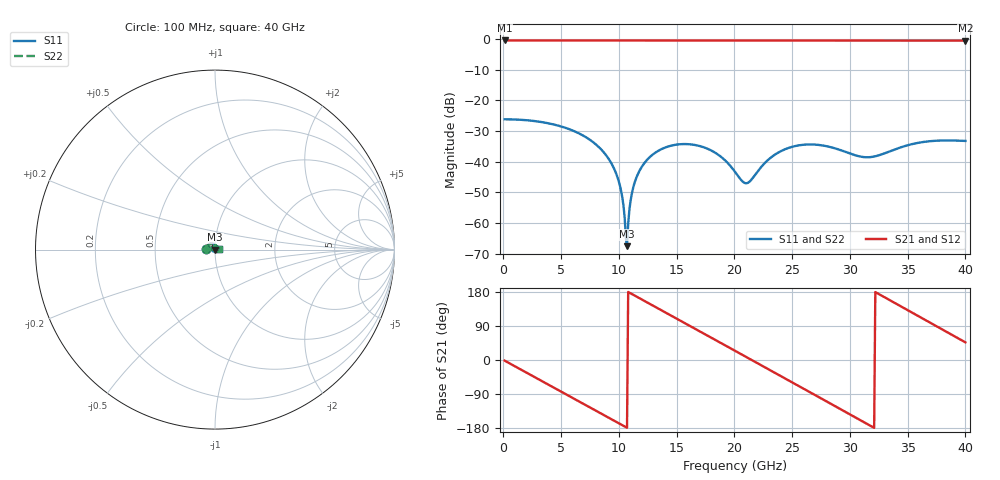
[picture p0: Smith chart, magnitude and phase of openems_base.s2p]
! thru_s8x4_L1: 2×thru, L1, 8 mm
! stackup: 8-layer 1.6 mm FR-4 without the L4 plane
! ports: 1, 2
! openEMS 0.37.0, staircase, base mesh (dfine 0.035 mm), 413725 cells
# Hz S RI R 50
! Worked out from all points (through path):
!   400 points, 100 MHz to 40 GHz, reference 50 ohm
!   highest |S21| = -0.44 dB at 100 MHz (marker M1); lowest = -0.5 dB at 40 GHz (marker M2)
!   group delay of S21, straight-line fit = 46.7 ps
!   lowest |S11| = -67.5 dB at 10.7 GHz (marker M3), VSWR 1.00, Z = 50 - j0.042 ohm
!   |S11| at or under -10 dB: start of sweep to end of sweep
!   |S22| runs from -67.5 to -26.1 dB; largest |S21 - S12| = 0
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1e8  -0.0493 0.00107  0.9501 -0.0277  0.9501 -0.0277  -0.0493 0.00107
1.8e9  -0.0442 0.0185  0.8225 -0.4763  0.8225 -0.4763  -0.0442 0.0185
3.8e9  -0.028 0.0323  0.4242 -0.8504  0.4242 -0.8504  -0.028 0.0323
6.8e9  0.000796 0.0274  -0.3806 -0.8704  -0.3806 -0.8704  0.000796 0.0274
8.6e9  0.00739 0.0129  -0.7655 -0.562  -0.7655 -0.562  0.00739 0.0129
9.7e9  0.00516 0.00452  -0.9035 -0.2917  -0.9035 -0.2917  0.00516 0.00452
1.03e10  0.0023 0.00115  -0.9405 -0.1298  -0.9405 -0.1298  0.0023 0.00115
1.07e10  -3.31e-05 -0.00042  -0.9491 -0.0193  -0.9491 -0.0193  -3.31e-05 -0.00042
1.09e10  -0.00129 -0.000978  -0.9486 0.0361  -0.9486 0.0361  -0.00129 -0.000978
1.14e10  -0.00453 -0.00168  -0.9332 0.1738  -0.9332 0.1738  -0.00453 -0.00168
1.34e10  -0.0144 0.00442  -0.6823 0.6597  -0.6823 0.6597  -0.0144 0.00442
1.67e10  -0.00338 0.0183  0.1544 0.9362  0.1544 0.9362  -0.00338 0.0183
2.01e10  0.00662 0.000814  0.8695 0.3783  0.8695 0.3783  0.00662 0.000814
2.11e10  0.00179 -0.00413  0.9416 0.1105  0.9416 0.1105  0.00179 -0.00413
2.31e10  -0.0113 -0.0023  0.8446 -0.4298  0.8446 -0.4298  -0.0113 -0.0023
2.5e10  -0.0139 0.0108  0.488 -0.812  0.488 -0.812  -0.0139 0.0108
2.67e10  -0.00343 0.0189  0.0383 -0.9464  0.0383 -0.9464  -0.00343 0.0189
2.85e10  0.0106 0.0133  -0.4461 -0.8353  -0.4461 -0.8353  0.0106 0.0133
3.04e10  0.0124 -0.00338  -0.822 -0.4695  -0.822 -0.4695  0.0124 -0.00338
3.34e10  -0.0121 -0.00831  -0.8824 0.3412  -0.8824 0.3412  -0.0121 -0.00831
3.68e10  -0.00532 0.0209  -0.1815 0.9277  -0.1815 0.9277  -0.00532 0.0209
4e10  0.0219 0.000999  0.6498 0.6855  0.6498 0.6855  0.0219 0.000999
